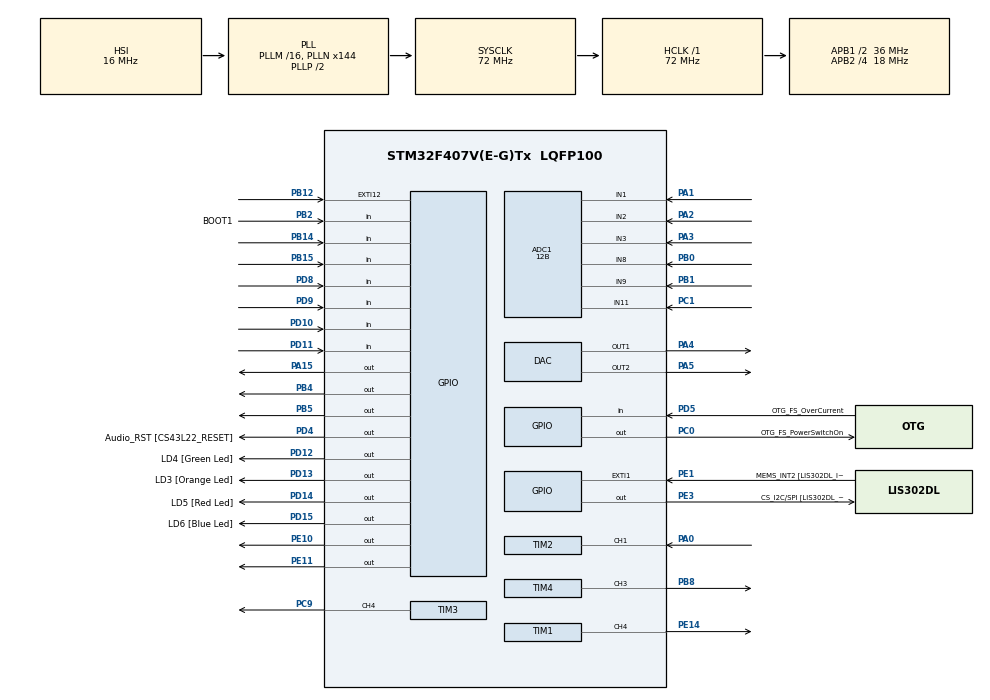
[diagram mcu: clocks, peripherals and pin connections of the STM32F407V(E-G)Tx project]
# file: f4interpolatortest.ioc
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ADC1.Channel-0\#ChannelRegularConversion=ADC_CHANNEL_1
ADC1.Channel-1\#ChannelRegularConversion=ADC_CHANNEL_2
ADC1.Channel-2\#ChannelRegularConversion=ADC_CHANNEL_3
ADC1.Channel-3\#ChannelRegularConversion=ADC_CHANNEL_8
ADC1.Channel-4\#ChannelRegularConversion=ADC_CHANNEL_9
ADC1.Channel-5\#ChannelRegularConversion=ADC_CHANNEL_11
ADC1.ClockPrescaler=ADC_CLOCK_SYNC_PCLK_DIV2
ADC1.ContinuousConvMode=ENABLE
ADC1.DMAContinuousRequests=ENABLE
ADC1.DataAlign=ADC_DATAALIGN_RIGHT
ADC1.DiscontinuousConvMode=DISABLE
ADC1.EOCSelection=ADC_EOC_SINGLE_CONV
ADC1.EnableAnalogWatchDog=false
ADC1.ExternalTrigConv=ADC_SOFTWARE_START
ADC1.ExternalTrigConvEdge=ADC_EXTERNALTRIGCONVEDGE_NONE
ADC1.InjNumberOfConversion=0
ADC1.NbrOfConversion=6
ADC1.NbrOfConversionFlag=1
ADC1.Rank-0\#ChannelRegularConversion=1
ADC1.Rank-1\#ChannelRegularConversion=2
ADC1.Rank-2\#ChannelRegularConversion=3
ADC1.Rank-3\#ChannelRegularConversion=4
ADC1.Rank-4\#ChannelRegularConversion=5
ADC1.Rank-5\#ChannelRegularConversion=6
ADC1.Resolution=ADC_RESOLUTION_12B
ADC1.SamplingTime-0\#ChannelRegularConversion=ADC_SAMPLETIME_56CYCLES
ADC1.SamplingTime-1\#ChannelRegularConversion=ADC_SAMPLETIME_56CYCLES
ADC1.SamplingTime-2\#ChannelRegularConversion=ADC_SAMPLETIME_56CYCLES
ADC1.SamplingTime-3\#ChannelRegularConversion=ADC_SAMPLETIME_56CYCLES
ADC1.SamplingTime-4\#ChannelRegularConversion=ADC_SAMPLETIME_56CYCLES
ADC1.SamplingTime-5\#ChannelRegularConversion=ADC_SAMPLETIME_56CYCLES
ADC1.ScanConvMode=ENABLE
ADC1.master=1
DAC.DAC_Trigger=DAC_TRIGGER_T6_TRGO
DAC.DAC_Trigger2=DAC_TRIGGER_T6_TRGO
Dma.ADC1.2.Direction=DMA_PERIPH_TO_MEMORY
Dma.ADC1.2.FIFOMode=DMA_FIFOMODE_DISABLE
Dma.ADC1.2.Instance=DMA2_Stream0
Dma.ADC1.2.MemDataAlignment=DMA_MDATAALIGN_WORD
Dma.ADC1.2.MemInc=DMA_MINC_ENABLE
Dma.ADC1.2.Mode=DMA_CIRCULAR
Dma.ADC1.2.PeriphDataAlignment=DMA_PDATAALIGN_WORD
Dma.ADC1.2.PeriphInc=DMA_PINC_DISABLE
Dma.ADC1.2.Priority=DMA_PRIORITY_MEDIUM
Dma.DAC1.0.Direction=DMA_MEMORY_TO_PERIPH
Dma.DAC1.0.FIFOMode=DMA_FIFOMODE_DISABLE
Dma.DAC1.0.Instance=DMA1_Stream5
Dma.DAC1.0.MemDataAlignment=DMA_MDATAALIGN_HALFWORD
Dma.DAC1.0.MemInc=DMA_MINC_ENABLE
Dma.DAC1.0.Mode=DMA_NORMAL
Dma.DAC1.0.PeriphDataAlignment=DMA_PDATAALIGN_HALFWORD
Dma.DAC1.0.PeriphInc=DMA_PINC_DISABLE
Dma.DAC1.0.Priority=DMA_PRIORITY_VERY_HIGH
Dma.DAC2.1.Direction=DMA_MEMORY_TO_PERIPH
Dma.DAC2.1.FIFOMode=DMA_FIFOMODE_DISABLE
Dma.DAC2.1.Instance=DMA1_Stream6
Dma.DAC2.1.MemDataAlignment=DMA_MDATAALIGN_HALFWORD
Dma.DAC2.1.MemInc=DMA_MINC_ENABLE
Dma.DAC2.1.Mode=DMA_CIRCULAR
Dma.DAC2.1.PeriphDataAlignment=DMA_PDATAALIGN_HALFWORD
Dma.DAC2.1.PeriphInc=DMA_PINC_DISABLE
Dma.DAC2.1.Priority=DMA_PRIORITY_VERY_HIGH
Dma.Request0=DAC1
Dma.Request1=DAC2
Dma.Request2=ADC1
Mcu.Family=STM32F4
Mcu.Name=STM32F407V(E-G)Tx
Mcu.Package=LQFP100
NVIC.DMA1_Stream5_IRQn=true\:1\:0\:true\:false\:true
NVIC.DMA1_Stream6_IRQn=true\:1\:0\:true\:false\:true
NVIC.DMA2_Stream0_IRQn=true\:1\:0\:true\:false\:true
NVIC.EXTI15_10_IRQn=true\:1\:0\:true\:false\:true
NVIC.PriorityGroup=NVIC_PRIORITYGROUP_2
NVIC.TIM2_IRQn=true\:0\:0\:false\:false\:true
NVIC.TIM6_DAC_IRQn=true\:0\:0\:false\:false\:true
PA0-WKUP.Signal=S_TIM2_CH1_ETR
PA1.Signal=ADCx_IN1
PA10.GPIO_Label=OTG_FS_ID
PA10.GPIO_Mode=GPIO_MODE_AF_PP
PA10.GPIO_PuPd=GPIO_NOPULL
PA10.GPIO_Speed=GPIO_SPEED_FREQ_LOW
PA10.Signal=USB_OTG_FS_ID
PA11.GPIO_Label=OTG_FS_DM
PA11.GPIO_Mode=GPIO_MODE_AF_PP
PA11.GPIO_PuPd=GPIO_NOPULL
PA11.GPIO_Speed=GPIO_SPEED_FREQ_LOW
PA11.Signal=USB_OTG_FS_DM
PA12.GPIO_Label=OTG_FS_DP
PA12.GPIO_Mode=GPIO_MODE_AF_PP
PA12.GPIO_PuPd=GPIO_NOPULL
PA12.GPIO_Speed=GPIO_SPEED_FREQ_LOW
PA12.Signal=USB_OTG_FS_DP
PA13.GPIO_Label=SWDIO
PA13.Signal=SYS_JTMS-SWDIO
PA14.GPIO_Label=SWCLK
PA14.Signal=SYS_JTCK-SWCLK
PA15.Signal=GPIO_Output
PA2.Signal=ADCx_IN2
PA3.Signal=ADCx_IN3
PA4.Signal=COMP_DAC1_group
PA5.Signal=COMP_DAC2_group
PA6.GPIO_Label=SPI1_MISO [LIS302DL_SDO]
PA6.GPIO_Mode=GPIO_MODE_AF_PP
PA6.GPIO_PuPd=GPIO_NOPULL
PA6.GPIO_Speed=GPIO_SPEED_FREQ_LOW
PA6.Signal=SPI1_MISO
PA7.GPIO_Label=SPI1_MOSI [LIS302DL_SDA/SDI/SDO]
PA7.GPIO_Mode=GPIO_MODE_AF_PP
PA7.GPIO_PuPd=GPIO_NOPULL
PA7.GPIO_Speed=GPIO_SPEED_FREQ_LOW
PA7.Signal=SPI1_MOSI
PA9.GPIO_Label=VBUS_FS
PA9.GPIO_Mode=GPIO_MODE_INPUT
PA9.GPIO_PuPd=GPIO_NOPULL
PA9.Signal=USB_OTG_FS_VBUS
PB0.Signal=ADCx_IN8
PB1.Signal=ADCx_IN9
PB10.GPIO_Label=CLK_IN [MP45DT02_CLK]
PB10.GPIO_Mode=GPIO_MODE_AF_PP
PB10.GPIO_PuPd=GPIO_NOPULL
PB10.GPIO_Speed=GPIO_SPEED_FREQ_LOW
PB10.Signal=I2S2_CK
PB12.Signal=GPXTI12
PB14.Signal=GPIO_Input
PB15.Signal=GPIO_Input
PB2.GPIO_Label=BOOT1
PB2.GPIO_Mode=GPIO_MODE_INPUT
PB2.GPIO_PuPd=GPIO_NOPULL
PB2.Signal=GPIO_Input
PB3.GPIO_Label=SWO
PB3.Signal=SYS_JTDO-SWO
PB4.Signal=GPIO_Output
PB5.Signal=GPIO_Output
PB6.GPIO_Label=Audio_SCL [CS43L22_SCL]
PB6.GPIO_Mode=GPIO_MODE_AF_OD
PB6.GPIO_PuPd=GPIO_NOPULL
PB6.GPIO_Speed=GPIO_SPEED_FREQ_LOW
PB6.Signal=I2C1_SCL
PB8.Signal=S_TIM4_CH3
PB9.GPIO_Label=Audio_SDA [CS43L22_SDA]
PB9.GPIO_Mode=GPIO_MODE_AF_OD
PB9.GPIO_PuPd=GPIO_NOPULL
PB9.GPIO_Speed=GPIO_SPEED_FREQ_LOW
PB9.Signal=I2C1_SDA
PC0.GPIO_Label=OTG_FS_PowerSwitchOn
PC0.GPIO_PuPd=GPIO_NOPULL
PC0.GPIO_Speed=GPIO_SPEED_FREQ_LOW
PC0.PinState=GPIO_PIN_SET
PC0.Signal=GPIO_Output
PC1.Signal=ADCx_IN11
PC10.GPIO_Label=I2S3_SCK [CS43L22_SCLK]
PC10.GPIO_Mode=GPIO_MODE_AF_PP
PC10.GPIO_PuPd=GPIO_NOPULL
PC10.GPIO_Speed=GPIO_SPEED_FREQ_LOW
PC10.Signal=I2S3_CK
PC12.GPIO_Label=I2S3_SD [CS43L22_SDIN]
PC12.GPIO_Mode=GPIO_MODE_AF_PP
PC12.GPIO_PuPd=GPIO_NOPULL
PC12.GPIO_Speed=GPIO_SPEED_FREQ_LOW
PC12.Signal=I2S3_SD
PC14-OSC32_IN.GPIO_Label=PC14-OSC32_IN
PC14-OSC32_IN.Signal=RCC_OSC32_IN
PC15-OSC32_OUT.GPIO_Label=PC15-OSC32_OUT
PC15-OSC32_OUT.Signal=RCC_OSC32_OUT
PC3.GPIO_Label=PDM_OUT [MP45DT02_DOUT]
PC3.GPIO_Mode=GPIO_MODE_AF_PP
PC3.GPIO_PuPd=GPIO_NOPULL
PC3.GPIO_Speed=GPIO_SPEED_FREQ_LOW
PC3.Signal=I2S2_SD
PC7.GPIO_Label=I2S3_MCK [CS43L22_MCLK]
PC7.GPIO_Mode=GPIO_MODE_AF_PP
PC7.GPIO_PuPd=GPIO_NOPULL
PC7.GPIO_Speed=GPIO_SPEED_FREQ_LOW
PC7.Signal=I2S3_MCK
PC9.Signal=S_TIM3_CH4
PD10.GPIO_PuPd=GPIO_PULLUP
PD10.Signal=GPIO_Input
PD11.GPIO_PuPd=GPIO_PULLUP
PD11.Signal=GPIO_Input
PD12.GPIO_Label=LD4 [Green Led]
PD12.GPIO_PuPd=GPIO_NOPULL
PD12.GPIO_Speed=GPIO_SPEED_FREQ_LOW
PD12.Signal=GPIO_Output
PD13.GPIO_Label=LD3 [Orange Led]
PD13.GPIO_PuPd=GPIO_NOPULL
PD13.GPIO_Speed=GPIO_SPEED_FREQ_LOW
PD13.Signal=GPIO_Output
PD14.GPIO_Label=LD5 [Red Led]
PD14.GPIO_PuPd=GPIO_NOPULL
PD14.GPIO_Speed=GPIO_SPEED_FREQ_LOW
PD14.Signal=GPIO_Output
PD15.GPIO_Label=LD6 [Blue Led]
PD15.GPIO_PuPd=GPIO_NOPULL
PD15.GPIO_Speed=GPIO_SPEED_FREQ_LOW
PD15.Signal=GPIO_Output
PD4.GPIO_Label=Audio_RST [CS43L22_RESET]
PD4.GPIO_PuPd=GPIO_NOPULL
PD4.GPIO_Speed=GPIO_SPEED_FREQ_LOW
PD4.Signal=GPIO_Output
PD5.GPIO_Label=OTG_FS_OverCurrent
PD5.GPIO_Mode=GPIO_MODE_INPUT
PD5.GPIO_PuPd=GPIO_NOPULL
PD5.Signal=GPIO_Input
PD8.GPIO_PuPd=GPIO_PULLUP
PD8.Signal=GPIO_Input
PD9.GPIO_PuPd=GPIO_PULLUP
PD9.Signal=GPIO_Input
PE1.GPIO_Label=MEMS_INT2 [LIS302DL_INT2]
PE1.GPIO_ModeDefaultEXTI=GPIO_MODE_EVT_RISING
PE1.GPIO_PuPd=GPIO_NOPULL
PE1.Signal=GPXTI1
PE10.Signal=GPIO_Output
PE11.Signal=GPIO_Output
PE14.Signal=S_TIM1_CH4
PE3.GPIO_Label=CS_I2C/SPI [LIS302DL_CS_I2C/SPI]
PE3.GPIO_PuPd=GPIO_NOPULL
PE3.GPIO_Speed=GPIO_SPEED_FREQ_LOW
PE3.Signal=GPIO_Output
PH0-OSC_IN.GPIO_Label=PH0-OSC_IN
PH0-OSC_IN.Signal=RCC_OSC_IN
PH1-OSC_OUT.GPIO_Label=PH1-OSC_OUT
PH1-OSC_OUT.Signal=RCC_OSC_OUT
ProjectManager.HeapSize=0x200
ProjectManager.StackSize=0x400
ProjectManager.TargetToolchain=SW4STM32
RCC.48MHZClocksFreq_Value=48000000
RCC.AHBFreq_Value=72000000
RCC.APB1CLKDivider=RCC_HCLK_DIV2
RCC.APB1Freq_Value=36000000
RCC.APB1TimFreq_Value=72000000
RCC.APB2CLKDivider=RCC_HCLK_DIV4
RCC.APB2Freq_Value=18000000
RCC.APB2TimFreq_Value=36000000
RCC.CortexFreq_Value=72000000
RCC.HCLKFreq_Value=72000000
RCC.HSE_VALUE=8000000
RCC.HSI_VALUE=16000000
RCC.LSE_VALUE=32768
RCC.PLLN=144
RCC.PLLQ=3
RCC.SYSCLKFreq_VALUE=72000000
RCC.SYSCLKSource=RCC_SYSCLKSOURCE_PLLCLK
RCC.VCOOutputFreq_Value=144000000
SH.ADCx_IN1.0=ADC1_IN1,IN1
SH.ADCx_IN11.0=ADC1_IN11,IN11
SH.ADCx_IN2.0=ADC1_IN2,IN2
SH.ADCx_IN3.0=ADC1_IN3,IN3
SH.ADCx_IN8.0=ADC1_IN8,IN8
SH.ADCx_IN9.0=ADC1_IN9,IN9
SH.COMP_DAC1_group.0=DAC_OUT1,DAC_OUT1
SH.COMP_DAC2_group.0=DAC_OUT2,DAC_OUT2
SH.S_TIM1_CH4.0=TIM1_CH4,PWM Generation4 CH4
SH.S_TIM2_CH1_ETR.0=TIM2_CH1,Input_Capture1_from_TI1
SH.S_TIM3_CH4.0=TIM3_CH4,PWM Generation4 CH4
SH.S_TIM4_CH3.0=TIM4_CH3,PWM Generation3 CH3
TIM1.Channel-PWM\ Generation4\ CH4=TIM_CHANNEL_4
TIM1.Period=4096
TIM1.Prescaler=15-1
TIM2.Channel-Input_Capture1_from_TI1=TIM_CHANNEL_1
TIM2.ICPolarity_CH1=TIM_INPUTCHANNELPOLARITY_FALLING
TIM3.Channel-PWM\ Generation4\ CH4=TIM_CHANNEL_4
TIM3.Period=4096
TIM3.Prescaler=4096
TIM4.Channel-PWM\ Generation3\ CH3=TIM_CHANNEL_3
TIM4.Period=4096
TIM4.Prescaler=15-1
TIM6.Period=1000
TIM6.Prescaler=1-1
TIM6.TIM_MasterOutputTrigger=TIM_TRGO_UPDATE
VP_TIM6_VS_ClockSourceINT.Mode=Enable_Timer
board=STM32F4DISCOVERY

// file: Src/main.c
/**
  ******************************************************************************
  * File Name          : main.c
  * Description        : Main program body
  ******************************************************************************
  ** This notice applies to any and all portions of this file
  * that are not between comment pairs USER CODE BEGIN and
  * USER CODE END. Other portions of this file, whether
  * inserted by the user or by software development tools
  * are owned by their respective copyright owners.
  *
  * COPYRIGHT(c) 2017 STMicroelectronics
  *
  * Redistribution and use in source and binary forms, with or without modification,
  * are permitted provided that the following conditions are met:
  *   1. Redistributions of source code must retain the above copyright notice,
  *      this list of conditions and the following disclaimer.
  *   2. Redistributions in binary form must reproduce the above copyright notice,
  *      this list of conditions and the following disclaimer in the documentation
  *      and/or other materials provided with the distribution.
  *   3. Neither the name of STMicroelectronics nor the names of its contributors
  *      may be used to endorse or promote products derived from this software
  *      without specific prior written permission.
  *
  * THIS SOFTWARE IS PROVIDED BY THE COPYRIGHT HOLDERS AND CONTRIBUTORS "AS IS"
  * AND ANY EXPRESS OR IMPLIED WARRANTIES, INCLUDING, BUT NOT LIMITED TO, THE
  * IMPLIED WARRANTIES OF MERCHANTABILITY AND FITNESS FOR A PARTICULAR PURPOSE ARE
  * DISCLAIMED. IN NO EVENT SHALL THE COPYRIGHT HOLDER OR CONTRIBUTORS BE LIABLE
  * FOR ANY DIRECT, INDIRECT, INCIDENTAL, SPECIAL, EXEMPLARY, OR CONSEQUENTIAL
  * DAMAGES (INCLUDING, BUT NOT LIMITED TO, PROCUREMENT OF SUBSTITUTE GOODS OR
  * SERVICES; LOSS OF USE, DATA, OR PROFITS; OR BUSINESS INTERRUPTION) HOWEVER
  * CAUSED AND ON ANY THEORY OF LIABILITY, WHETHER IN CONTRACT, STRICT LIABILITY,
  * OR TORT (INCLUDING NEGLIGENCE OR OTHERWISE) ARISING IN ANY WAY OUT OF THE USE
  * OF THIS SOFTWARE, EVEN IF ADVISED OF THE POSSIBILITY OF SUCH DAMAGE.
  *
  ******************************************************************************
  */
#include "main.h"
#include "stm32f4xx_hal.h"

/* USER CODE BEGIN Includes */
#include "fixmath.h"
#include "fix16.h"
/* USER CODE END Includes */

ADC_HandleTypeDef hadc1;
DMA_HandleTypeDef hdma_adc1;

DAC_HandleTypeDef hdac;
DMA_HandleTypeDef hdma_dac1;
DMA_HandleTypeDef hdma_dac2;

TIM_HandleTypeDef htim1;
TIM_HandleTypeDef htim2;
TIM_HandleTypeDef htim3;
TIM_HandleTypeDef htim4;
TIM_HandleTypeDef htim6;

/* USER CODE BEGIN PV */
/* Private variables ---------------------------------------------------------*/
__IO uint32_t uhTSCAcquisitionValue1;
__IO uint32_t uhTSCAcquisitionValue2;
__IO uint32_t uhTSCAcquisitionValue3;
int not1;
int not2;
int not3;
int modeflag;
int modechanged;
int pindownlastcycle;
int temp1 = 0;
int temp2 = 0;
int temp3 = 0;
int temp4 = 0;
extern uint16_t dacbuffer1[1];
extern uint16_t dacbuffer2[1];
enum speedTypes speed;
enum loopTypes loop;
enum trigModeTypes trigMode;
enum sampleHoldModeTypes sampleHoldMode;
extern uint8_t family;
int trig;
uint8_t lastAttackFlag;
uint8_t lastReleaseFlag;
uint8_t intoattackfroml;
uint8_t intoreleasefroml;
uint8_t intoattackfromr;
uint8_t intoreleasefromr;
uint8_t pintimer;
uint16_t sampleHoldTimer;
int benchmark;
int lastcount;
fix16_t out;
extern uint32_t ADCReadings[6];
/* USER CODE END PV */

void SystemClock_Config(void);
static void MX_GPIO_Init(void);
static void MX_DMA_Init(void);
static void MX_ADC1_Init(void);
static void MX_DAC_Init(void);
static void MX_TIM2_Init(void);
static void MX_TIM6_Init(void);
static void MX_TIM1_Init(void);
static void MX_TIM3_Init(void);
static void MX_TIM4_Init(void);

void HAL_TIM_MspPostInit(TIM_HandleTypeDef *htim);

/* USER CODE BEGIN PFP */
/* Private function prototypes -----------------------------------------------*/
void ReadPins(uint8_t);
void ChangeMode(int);
void ShowMode(uint8_t);
void ClearRGB(void);
void ClearLEDs(void);
/* USER CODE END PFP */

int main(void)
{

  /* MCU Configuration----------------------------------------------------------*/

  /* Reset of all peripherals, Initializes the Flash interface and the Systick. */
  HAL_Init();

  /* Configure the system clock */
  SystemClock_Config();

  /* Initialize all configured peripherals */
  MX_GPIO_Init();
  MX_DMA_Init();
  MX_ADC1_Init();
  MX_DAC_Init();
  MX_TIM2_Init();
  MX_TIM6_Init();
  MX_TIM1_Init();
  MX_TIM3_Init();
  MX_TIM4_Init();

  /* USER CODE BEGIN 2 */
  HAL_ADC_Start_DMA(&hadc1, ADCReadings, 6);
    HAL_TIM_IC_Start_IT(&htim2, TIM_CHANNEL_1);
    HAL_TIM_Base_Start_IT(&htim6);
    HAL_TIM_PWM_Start(&htim1, TIM_CHANNEL_4);
    HAL_TIM_PWM_Start(&htim3, TIM_CHANNEL_4);
    HAL_TIM_PWM_Start(&htim4, TIM_CHANNEL_3);
    HAL_DAC_Start(&hdac, DAC_CHANNEL_1);
    HAL_DAC_Start(&hdac, DAC_CHANNEL_2);
    HAL_DAC_Start_DMA(&hdac, DAC_CHANNEL_1, (uint32_t*)dacbuffer1, 1, DAC_ALIGN_12B_R);
    HAL_DAC_Start_DMA(&hdac, DAC_CHANNEL_2, (uint32_t*)dacbuffer2, 1, DAC_ALIGN_12B_R);

  /* USER CODE END 2 */

  /* Infinite loop */
  /* USER CODE BEGIN WHILE */
  while (1)
  {
	  while (1)
	     {
	 	 pintimer = (pintimer + 1) % 4;
	 	 ReadPins(pintimer);
	 	 if (pindownlastcycle > modechanged) {ChangeMode(modeflag);}
	 	 if (pindownlastcycle > modechanged) {
	 			 if (modeflag == 1) {
	 				 for (int i = 0; i < 10000; i++) {ShowMode(speed);}
	 				 ClearLEDs();
	 			 }
	 			 else if (modeflag == 2) {
	 				 for (int i = 0; i < 10000; i++) {ShowMode(trigMode);}
	 				 ClearLEDs();}
	 			 else if (modeflag == 3) {
	 				 for (int i = 0; i < 10000; i++) {ShowMode(loop);}
	 				 ClearLEDs();}
	 			 else if (modeflag == 4) {
	 				 for (int i = 0; i < 10000; i++) {ShowMode(sampleHoldMode);}
	 				 ClearLEDs();}
	 	}

	 	 if (lastAttackFlag > 0 && modechanged == 0) {
	 		 __HAL_TIM_SET_COMPARE(&htim4, TIM_CHANNEL_3, out);
	 		 __HAL_TIM_SET_COMPARE(&htim3, TIM_CHANNEL_4, 0);} //sets the PWM duty cycle (Capture Compare Value)
	 	 if (lastReleaseFlag > 0 && modechanged == 0) {
	 		 __HAL_TIM_SET_COMPARE(&htim3, TIM_CHANNEL_4, out);
	 		 __HAL_TIM_SET_COMPARE(&htim4, TIM_CHANNEL_3, 0);
	 	 } //sets the PWM duty cycle (Capture Compare Value)
	 	 if (modechanged == 0) {__HAL_TIM_SET_COMPARE(&htim1, TIM_CHANNEL_4, ADCReadings[5]);} //sets the PWM duty cycle (Capture Compare Value)

	 	 //ProcessSensors(); /*Initiates acquisition, sets uhTSCAcquisitionValue1, uhTSCAcquisitionValue2, and
	     	//				uhTSCAcquisitionValue3 if acquisition successful*/
	 	 //SetFlags(); /*Sets flag1, flag2, or flag3 per the unique value combos indicating a touch in the corresponding
	      //	 	 	 zone*/
	      //

	     }
  /* USER CODE END WHILE */

  }

}

/** System Clock Configuration
*/
void SystemClock_Config(void)
{

  RCC_OscInitTypeDef RCC_OscInitStruct;
  RCC_ClkInitTypeDef RCC_ClkInitStruct;

    /**Configure the main internal regulator output voltage
    */
  __HAL_RCC_PWR_CLK_ENABLE();

  __HAL_PWR_VOLTAGESCALING_CONFIG(PWR_REGULATOR_VOLTAGE_SCALE1);

    /**Initializes the CPU, AHB and APB busses clocks
    */
  RCC_OscInitStruct.OscillatorType = RCC_OSCILLATORTYPE_HSI;
  RCC_OscInitStruct.HSIState = RCC_HSI_ON;
  RCC_OscInitStruct.HSICalibrationValue = 16;
  RCC_OscInitStruct.PLL.PLLState = RCC_PLL_ON;
  RCC_OscInitStruct.PLL.PLLSource = RCC_PLLSOURCE_HSI;
  RCC_OscInitStruct.PLL.PLLM = 16;
  RCC_OscInitStruct.PLL.PLLN = 144;
  RCC_OscInitStruct.PLL.PLLP = RCC_PLLP_DIV2;
  RCC_OscInitStruct.PLL.PLLQ = 3;
  if (HAL_RCC_OscConfig(&RCC_OscInitStruct) != HAL_OK)
  {
    _Error_Handler(__FILE__, __LINE__);
  }

    /**Initializes the CPU, AHB and APB busses clocks
    */
  RCC_ClkInitStruct.ClockType = RCC_CLOCKTYPE_HCLK|RCC_CLOCKTYPE_SYSCLK
                              |RCC_CLOCKTYPE_PCLK1|RCC_CLOCKTYPE_PCLK2;
  RCC_ClkInitStruct.SYSCLKSource = RCC_SYSCLKSOURCE_PLLCLK;
  RCC_ClkInitStruct.AHBCLKDivider = RCC_SYSCLK_DIV1;
  RCC_ClkInitStruct.APB1CLKDivider = RCC_HCLK_DIV2;
  RCC_ClkInitStruct.APB2CLKDivider = RCC_HCLK_DIV4;

  if (HAL_RCC_ClockConfig(&RCC_ClkInitStruct, FLASH_LATENCY_2) != HAL_OK)
  {
    _Error_Handler(__FILE__, __LINE__);
  }

    /**Configure the Systick interrupt time
    */
  HAL_SYSTICK_Config(HAL_RCC_GetHCLKFreq()/1000);

    /**Configure the Systick
    */
  HAL_SYSTICK_CLKSourceConfig(SYSTICK_CLKSOURCE_HCLK);

  /* SysTick_IRQn interrupt configuration */
  HAL_NVIC_SetPriority(SysTick_IRQn, 0, 0);
}

/* ADC1 init function */
static void MX_ADC1_Init(void)
{

  ADC_ChannelConfTypeDef sConfig;

    /**Configure the global features of the ADC (Clock, Resolution, Data Alignment and number of conversion)
    */
  hadc1.Instance = ADC1;
  hadc1.Init.ClockPrescaler = ADC_CLOCK_SYNC_PCLK_DIV2;
  hadc1.Init.Resolution = ADC_RESOLUTION_12B;
  hadc1.Init.ScanConvMode = ENABLE;
  hadc1.Init.ContinuousConvMode = ENABLE;
  hadc1.Init.DiscontinuousConvMode = DISABLE;
  hadc1.Init.ExternalTrigConvEdge = ADC_EXTERNALTRIGCONVEDGE_NONE;
  hadc1.Init.ExternalTrigConv = ADC_SOFTWARE_START;
  hadc1.Init.DataAlign = ADC_DATAALIGN_RIGHT;
  hadc1.Init.NbrOfConversion = 6;
  hadc1.Init.DMAContinuousRequests = ENABLE;
  hadc1.Init.EOCSelection = ADC_EOC_SINGLE_CONV;
  if (HAL_ADC_Init(&hadc1) != HAL_OK)
  {
    _Error_Handler(__FILE__, __LINE__);
  }

    /**Configure for the selected ADC regular channel its corresponding rank in the sequencer and its sample time.
    */
  sConfig.Channel = ADC_CHANNEL_1;
  sConfig.Rank = 1;
  sConfig.SamplingTime = ADC_SAMPLETIME_56CYCLES;
  if (HAL_ADC_ConfigChannel(&hadc1, &sConfig) != HAL_OK)
  {
    _Error_Handler(__FILE__, __LINE__);
  }

    /**Configure for the selected ADC regular channel its corresponding rank in the sequencer and its sample time.
    */
  sConfig.Channel = ADC_CHANNEL_2;
  sConfig.Rank = 2;
  if (HAL_ADC_ConfigChannel(&hadc1, &sConfig) != HAL_OK)
  {
    _Error_Handler(__FILE__, __LINE__);
  }

    /**Configure for the selected ADC regular channel its corresponding rank in the sequencer and its sample time.
    */
  sConfig.Channel = ADC_CHANNEL_3;
  sConfig.Rank = 3;
  if (HAL_ADC_ConfigChannel(&hadc1, &sConfig) != HAL_OK)
  {
    _Error_Handler(__FILE__, __LINE__);
  }

    /**Configure for the selected ADC regular channel its corresponding rank in the sequencer and its sample time.
    */
  sConfig.Channel = ADC_CHANNEL_8;
  sConfig.Rank = 4;
  if (HAL_ADC_ConfigChannel(&hadc1, &sConfig) != HAL_OK)
  {
    _Error_Handler(__FILE__, __LINE__);
  }

    /**Configure for the selected ADC regular channel its corresponding rank in the sequencer and its sample time.
    */
  sConfig.Channel = ADC_CHANNEL_9;
  sConfig.Rank = 5;
  if (HAL_ADC_ConfigChannel(&hadc1, &sConfig) != HAL_OK)
  {
    _Error_Handler(__FILE__, __LINE__);
  }

    /**Configure for the selected ADC regular channel its corresponding rank in the sequencer and its sample time.
    */
  sConfig.Channel = ADC_CHANNEL_11;
  sConfig.Rank = 6;
  if (HAL_ADC_ConfigChannel(&hadc1, &sConfig) != HAL_OK)
  {
    _Error_Handler(__FILE__, __LINE__);
  }

}

/* DAC init function */
static void MX_DAC_Init(void)
{

  DAC_ChannelConfTypeDef sConfig;

    /**DAC Initialization
    */
  hdac.Instance = DAC;
  if (HAL_DAC_Init(&hdac) != HAL_OK)
  {
    _Error_Handler(__FILE__, __LINE__);
  }

    /**DAC channel OUT1 config
    */
  sConfig.DAC_Trigger = DAC_TRIGGER_T6_TRGO;
  sConfig.DAC_OutputBuffer = DAC_OUTPUTBUFFER_ENABLE;
  if (HAL_DAC_ConfigChannel(&hdac, &sConfig, DAC_CHANNEL_1) != HAL_OK)
  {
    _Error_Handler(__FILE__, __LINE__);
  }

    /**DAC channel OUT2 config
    */
  if (HAL_DAC_ConfigChannel(&hdac, &sConfig, DAC_CHANNEL_2) != HAL_OK)
  {
    _Error_Handler(__FILE__, __LINE__);
  }

}

/* TIM1 init function */
static void MX_TIM1_Init(void)
{

  TIM_MasterConfigTypeDef sMasterConfig;
  TIM_OC_InitTypeDef sConfigOC;
  TIM_BreakDeadTimeConfigTypeDef sBreakDeadTimeConfig;

  htim1.Instance = TIM1;
  htim1.Init.Prescaler = 15-1;
  htim1.Init.CounterMode = TIM_COUNTERMODE_UP;
  htim1.Init.Period = 4096;
  htim1.Init.ClockDivision = TIM_CLOCKDIVISION_DIV1;
  htim1.Init.RepetitionCounter = 0;
  if (HAL_TIM_PWM_Init(&htim1) != HAL_OK)
  {
    _Error_Handler(__FILE__, __LINE__);
  }

  sMasterConfig.MasterOutputTrigger = TIM_TRGO_RESET;
  sMasterConfig.MasterSlaveMode = TIM_MASTERSLAVEMODE_DISABLE;
  if (HAL_TIMEx_MasterConfigSynchronization(&htim1, &sMasterConfig) != HAL_OK)
  {
    _Error_Handler(__FILE__, __LINE__);
  }

  sConfigOC.OCMode = TIM_OCMODE_PWM1;
  sConfigOC.Pulse = 0;
  sConfigOC.OCPolarity = TIM_OCPOLARITY_HIGH;
  sConfigOC.OCFastMode = TIM_OCFAST_DISABLE;
  sConfigOC.OCIdleState = TIM_OCIDLESTATE_RESET;
  sConfigOC.OCNIdleState = TIM_OCNIDLESTATE_RESET;
  if (HAL_TIM_PWM_ConfigChannel(&htim1, &sConfigOC, TIM_CHANNEL_4) != HAL_OK)
  {
    _Error_Handler(__FILE__, __LINE__);
  }

  sBreakDeadTimeConfig.OffStateRunMode = TIM_OSSR_DISABLE;
  sBreakDeadTimeConfig.OffStateIDLEMode = TIM_OSSI_DISABLE;
  sBreakDeadTimeConfig.LockLevel = TIM_LOCKLEVEL_OFF;
  sBreakDeadTimeConfig.DeadTime = 0;
  sBreakDeadTimeConfig.BreakState = TIM_BREAK_DISABLE;
  sBreakDeadTimeConfig.BreakPolarity = TIM_BREAKPOLARITY_HIGH;
  sBreakDeadTimeConfig.AutomaticOutput = TIM_AUTOMATICOUTPUT_DISABLE;
  if (HAL_TIMEx_ConfigBreakDeadTime(&htim1, &sBreakDeadTimeConfig) != HAL_OK)
  {
    _Error_Handler(__FILE__, __LINE__);
  }

  HAL_TIM_MspPostInit(&htim1);

}

/* TIM2 init function */
static void MX_TIM2_Init(void)
{

  TIM_MasterConfigTypeDef sMasterConfig;
  TIM_IC_InitTypeDef sConfigIC;

  htim2.Instance = TIM2;
  htim2.Init.Prescaler = 0;
  htim2.Init.CounterMode = TIM_COUNTERMODE_UP;
  htim2.Init.Period = 0;
  htim2.Init.ClockDivision = TIM_CLOCKDIVISION_DIV1;
  if (HAL_TIM_IC_Init(&htim2) != HAL_OK)
  {
    _Error_Handler(__FILE__, __LINE__);
  }

  sMasterConfig.MasterOutputTrigger = TIM_TRGO_RESET;
  sMasterConfig.MasterSlaveMode = TIM_MASTERSLAVEMODE_DISABLE;
  if (HAL_TIMEx_MasterConfigSynchronization(&htim2, &sMasterConfig) != HAL_OK)
  {
    _Error_Handler(__FILE__, __LINE__);
  }

  sConfigIC.ICPolarity = TIM_INPUTCHANNELPOLARITY_FALLING;
  sConfigIC.ICSelection = TIM_ICSELECTION_DIRECTTI;
  sConfigIC.ICPrescaler = TIM_ICPSC_DIV1;
  sConfigIC.ICFilter = 0;
  if (HAL_TIM_IC_ConfigChannel(&htim2, &sConfigIC, TIM_CHANNEL_1) != HAL_OK)
  {
    _Error_Handler(__FILE__, __LINE__);
  }

}

/* TIM3 init function */
static void MX_TIM3_Init(void)
{

  TIM_MasterConfigTypeDef sMasterConfig;
  TIM_OC_InitTypeDef sConfigOC;

  htim3.Instance = TIM3;
  htim3.Init.Prescaler = 15-1;
  htim3.Init.CounterMode = TIM_COUNTERMODE_UP;
  htim3.Init.Period = 4096;
  htim3.Init.ClockDivision = TIM_CLOCKDIVISION_DIV1;
  if (HAL_TIM_PWM_Init(&htim3) != HAL_OK)
  {
    _Error_Handler(__FILE__, __LINE__);
  }

  sMasterConfig.MasterOutputTrigger = TIM_TRGO_RESET;
  sMasterConfig.MasterSlaveMode = TIM_MASTERSLAVEMODE_DISABLE;
  if (HAL_TIMEx_MasterConfigSynchronization(&htim3, &sMasterConfig) != HAL_OK)
  {
    _Error_Handler(__FILE__, __LINE__);
  }

  sConfigOC.OCMode = TIM_OCMODE_PWM1;
  sConfigOC.Pulse = 0;
  sConfigOC.OCPolarity = TIM_OCPOLARITY_HIGH;
  sConfigOC.OCFastMode = TIM_OCFAST_DISABLE;
  if (HAL_TIM_PWM_ConfigChannel(&htim3, &sConfigOC, TIM_CHANNEL_4) != HAL_OK)
  {
    _Error_Handler(__FILE__, __LINE__);
  }

  HAL_TIM_MspPostInit(&htim3);

}

/* TIM4 init function */
static void MX_TIM4_Init(void)
{

  TIM_MasterConfigTypeDef sMasterConfig;
  TIM_OC_InitTypeDef sConfigOC;

  htim4.Instance = TIM4;
  htim4.Init.Prescaler = 15-1;
  htim4.Init.CounterMode = TIM_COUNTERMODE_UP;
  htim4.Init.Period = 4096;
  htim4.Init.ClockDivision = TIM_CLOCKDIVISION_DIV1;
  if (HAL_TIM_PWM_Init(&htim4) != HAL_OK)
  {
    _Error_Handler(__FILE__, __LINE__);
  }

  sMasterConfig.MasterOutputTrigger = TIM_TRGO_RESET;
  sMasterConfig.MasterSlaveMode = TIM_MASTERSLAVEMODE_DISABLE;
  if (HAL_TIMEx_MasterConfigSynchronization(&htim4, &sMasterConfig) != HAL_OK)
  {
    _Error_Handler(__FILE__, __LINE__);
  }

  sConfigOC.OCMode = TIM_OCMODE_PWM1;
  sConfigOC.Pulse = 0;
  sConfigOC.OCPolarity = TIM_OCPOLARITY_HIGH;
  sConfigOC.OCFastMode = TIM_OCFAST_DISABLE;
  if (HAL_TIM_PWM_ConfigChannel(&htim4, &sConfigOC, TIM_CHANNEL_3) != HAL_OK)
  {
    _Error_Handler(__FILE__, __LINE__);
  }

  HAL_TIM_MspPostInit(&htim4);

}

/* TIM6 init function */
static void MX_TIM6_Init(void)
{

  TIM_MasterConfigTypeDef sMasterConfig;

  htim6.Instance = TIM6;
  htim6.Init.Prescaler = 1-1;
  htim6.Init.CounterMode = TIM_COUNTERMODE_UP;
  htim6.Init.Period = 1000;
  if (HAL_TIM_Base_Init(&htim6) != HAL_OK)
  {
    _Error_Handler(__FILE__, __LINE__);
  }

  sMasterConfig.MasterOutputTrigger = TIM_TRGO_UPDATE;
  sMasterConfig.MasterSlaveMode = TIM_MASTERSLAVEMODE_DISABLE;
  if (HAL_TIMEx_MasterConfigSynchronization(&htim6, &sMasterConfig) != HAL_OK)
  {
    _Error_Handler(__FILE__, __LINE__);
  }

}

static void MX_DMA_Init(void)
{
  /* DMA controller clock enable */
  __HAL_RCC_DMA1_CLK_ENABLE();
  __HAL_RCC_DMA2_CLK_ENABLE();

  /* DMA interrupt init */
  /* DMA1_Stream5_IRQn interrupt configuration */
  HAL_NVIC_SetPriority(DMA1_Stream5_IRQn, 1, 0);
  HAL_NVIC_EnableIRQ(DMA1_Stream5_IRQn);
  /* DMA1_Stream6_IRQn interrupt configuration */
  HAL_NVIC_SetPriority(DMA1_Stream6_IRQn, 1, 0);
  HAL_NVIC_EnableIRQ(DMA1_Stream6_IRQn);
  /* DMA2_Stream0_IRQn interrupt configuration */
  HAL_NVIC_SetPriority(DMA2_Stream0_IRQn, 1, 0);
  HAL_NVIC_EnableIRQ(DMA2_Stream0_IRQn);

}

/** Configure pins as
        * Analog
        * Input
        * Output
        * EVENT_OUT
        * EXTI
     PC3   ------> I2S2_SD
     PA6   ------> SPI1_MISO
     PA7   ------> SPI1_MOSI
     PB10   ------> I2S2_CK
     PC7   ------> I2S3_MCK
     PA9   ------> USB_OTG_FS_VBUS
     PA10   ------> USB_OTG_FS_ID
     PA11   ------> USB_OTG_FS_DM
     PA12   ------> USB_OTG_FS_DP
     PC10   ------> I2S3_CK
     PC12   ------> I2S3_SD
     PB6   ------> I2C1_SCL
     PB9   ------> I2C1_SDA
*/
static void MX_GPIO_Init(void)
{

  GPIO_InitTypeDef GPIO_InitStruct;

  /* GPIO Ports Clock Enable */
  __HAL_RCC_GPIOE_CLK_ENABLE();
  __HAL_RCC_GPIOC_CLK_ENABLE();
  __HAL_RCC_GPIOH_CLK_ENABLE();
  __HAL_RCC_GPIOA_CLK_ENABLE();
  __HAL_RCC_GPIOB_CLK_ENABLE();
  __HAL_RCC_GPIOD_CLK_ENABLE();

  /*Configure GPIO pin Output Level */
  HAL_GPIO_WritePin(GPIOE, CS_I2C_SPI_Pin|GPIO_PIN_10|GPIO_PIN_11, GPIO_PIN_RESET);

  /*Configure GPIO pin Output Level */
  HAL_GPIO_WritePin(OTG_FS_PowerSwitchOn_GPIO_Port, OTG_FS_PowerSwitchOn_Pin, GPIO_PIN_SET);

  /*Configure GPIO pin Output Level */
  HAL_GPIO_WritePin(GPIOD, LD4_Pin|LD3_Pin|LD5_Pin|LD6_Pin
                          |Audio_RST_Pin, GPIO_PIN_RESET);

  /*Configure GPIO pin Output Level */
  HAL_GPIO_WritePin(GPIOA, GPIO_PIN_15, GPIO_PIN_RESET);

  /*Configure GPIO pin Output Level */
  HAL_GPIO_WritePin(GPIOB, GPIO_PIN_4|GPIO_PIN_5, GPIO_PIN_RESET);

  /*Configure GPIO pins : CS_I2C_SPI_Pin PE10 PE11 */
  GPIO_InitStruct.Pin = CS_I2C_SPI_Pin|GPIO_PIN_10|GPIO_PIN_11;
  GPIO_InitStruct.Mode = GPIO_MODE_OUTPUT_PP;
  GPIO_InitStruct.Pull = GPIO_NOPULL;
  GPIO_InitStruct.Speed = GPIO_SPEED_FREQ_LOW;
  HAL_GPIO_Init(GPIOE, &GPIO_InitStruct);

  /*Configure GPIO pin : OTG_FS_PowerSwitchOn_Pin */
  GPIO_InitStruct.Pin = OTG_FS_PowerSwitchOn_Pin;
  GPIO_InitStruct.Mode = GPIO_MODE_OUTPUT_PP;
  GPIO_InitStruct.Pull = GPIO_NOPULL;
  GPIO_InitStruct.Speed = GPIO_SPEED_FREQ_LOW;
  HAL_GPIO_Init(OTG_FS_PowerSwitchOn_GPIO_Port, &GPIO_InitStruct);

  /*Configure GPIO pin : PDM_OUT_Pin */
  GPIO_InitStruct.Pin = PDM_OUT_Pin;
  GPIO_InitStruct.Mode = GPIO_MODE_AF_PP;
  GPIO_InitStruct.Pull = GPIO_NOPULL;
  GPIO_InitStruct.Speed = GPIO_SPEED_FREQ_LOW;
  GPIO_InitStruct.Alternate = GPIO_AF5_SPI2;
  HAL_GPIO_Init(PDM_OUT_GPIO_Port, &GPIO_InitStruct);

  /*Configure GPIO pins : SPI1_MISO_Pin SPI1_MOSI_Pin */
  GPIO_InitStruct.Pin = SPI1_MISO_Pin|SPI1_MOSI_Pin;
  GPIO_InitStruct.Mode = GPIO_MODE_AF_PP;
  GPIO_InitStruct.Pull = GPIO_NOPULL;
  GPIO_InitStruct.Speed = GPIO_SPEED_FREQ_LOW;
  GPIO_InitStruct.Alternate = GPIO_AF5_SPI1;
  HAL_GPIO_Init(GPIOA, &GPIO_InitStruct);

  /*Configure GPIO pins : BOOT1_Pin PB14 PB15 */
  GPIO_InitStruct.Pin = BOOT1_Pin|GPIO_PIN_14|GPIO_PIN_15;
  GPIO_InitStruct.Mode = GPIO_MODE_INPUT;
  GPIO_InitStruct.Pull = GPIO_NOPULL;
  HAL_GPIO_Init(GPIOB, &GPIO_InitStruct);

  /*Configure GPIO pin : CLK_IN_Pin */
  GPIO_InitStruct.Pin = CLK_IN_Pin;
  GPIO_InitStruct.Mode = GPIO_MODE_AF_PP;
  GPIO_InitStruct.Pull = GPIO_NOPULL;
  GPIO_InitStruct.Speed = GPIO_SPEED_FREQ_LOW;
  GPIO_InitStruct.Alternate = GPIO_AF5_SPI2;
  HAL_GPIO_Init(CLK_IN_GPIO_Port, &GPIO_InitStruct);

  /*Configure GPIO pin : PB12 */
  GPIO_InitStruct.Pin = GPIO_PIN_12;
  GPIO_InitStruct.Mode = GPIO_MODE_IT_RISING;
  GPIO_InitStruct.Pull = GPIO_NOPULL;
  HAL_GPIO_Init(GPIOB, &GPIO_InitStruct);

  /*Configure GPIO pins : PD8 PD9 PD10 PD11 */
  GPIO_InitStruct.Pin = GPIO_PIN_8|GPIO_PIN_9|GPIO_PIN_10|GPIO_PIN_11;
  GPIO_InitStruct.Mode = GPIO_MODE_INPUT;
  GPIO_InitStruct.Pull = GPIO_PULLUP;
  HAL_GPIO_Init(GPIOD, &GPIO_InitStruct);

  /*Configure GPIO pins : LD4_Pin LD3_Pin LD5_Pin LD6_Pin
                           Audio_RST_Pin */
  GPIO_InitStruct.Pin = LD4_Pin|LD3_Pin|LD5_Pin|LD6_Pin
                          |Audio_RST_Pin;
  GPIO_InitStruct.Mode = GPIO_MODE_OUTPUT_PP;
  GPIO_InitStruct.Pull = GPIO_NOPULL;
  GPIO_InitStruct.Speed = GPIO_SPEED_FREQ_LOW;
  HAL_GPIO_Init(GPIOD, &GPIO_InitStruct);

  /*Configure GPIO pins : I2S3_MCK_Pin I2S3_SCK_Pin I2S3_SD_Pin */
  GPIO_InitStruct.Pin = I2S3_MCK_Pin|I2S3_SCK_Pin|I2S3_SD_Pin;
  GPIO_InitStruct.Mode = GPIO_MODE_AF_PP;
  GPIO_InitStruct.Pull = GPIO_NOPULL;
  GPIO_InitStruct.Speed = GPIO_SPEED_FREQ_LOW;
  GPIO_InitStruct.Alternate = GPIO_AF6_SPI3;
  HAL_GPIO_Init(GPIOC, &GPIO_InitStruct);

  /*Configure GPIO pin : VBUS_FS_Pin */
  GPIO_InitStruct.Pin = VBUS_FS_Pin;
  GPIO_InitStruct.Mode = GPIO_MODE_INPUT;
  GPIO_InitStruct.Pull = GPIO_NOPULL;
  HAL_GPIO_Init(VBUS_FS_GPIO_Port, &GPIO_InitStruct);

  /*Configure GPIO pins : OTG_FS_ID_Pin OTG_FS_DM_Pin OTG_FS_DP_Pin */
  GPIO_InitStruct.Pin = OTG_FS_ID_Pin|OTG_FS_DM_Pin|OTG_FS_DP_Pin;
  GPIO_InitStruct.Mode = GPIO_MODE_AF_PP;
  GPIO_InitStruct.Pull = GPIO_NOPULL;
  GPIO_InitStruct.Speed = GPIO_SPEED_FREQ_LOW;
  GPIO_InitStruct.Alternate = GPIO_AF10_OTG_FS;
  HAL_GPIO_Init(GPIOA, &GPIO_InitStruct);

  /*Configure GPIO pin : PA15 */
  GPIO_InitStruct.Pin = GPIO_PIN_15;
  GPIO_InitStruct.Mode = GPIO_MODE_OUTPUT_PP;
  GPIO_InitStruct.Pull = GPIO_NOPULL;
  GPIO_InitStruct.Speed = GPIO_SPEED_FREQ_LOW;
  HAL_GPIO_Init(GPIOA, &GPIO_InitStruct);

  /*Configure GPIO pin : OTG_FS_OverCurrent_Pin */
  GPIO_InitStruct.Pin = OTG_FS_OverCurrent_Pin;
  GPIO_InitStruct.Mode = GPIO_MODE_INPUT;
  GPIO_InitStruct.Pull = GPIO_NOPULL;
  HAL_GPIO_Init(OTG_FS_OverCurrent_GPIO_Port, &GPIO_InitStruct);

  /*Configure GPIO pins : PB4 PB5 */
  GPIO_InitStruct.Pin = GPIO_PIN_4|GPIO_PIN_5;
  GPIO_InitStruct.Mode = GPIO_MODE_OUTPUT_PP;
  GPIO_InitStruct.Pull = GPIO_NOPULL;
  GPIO_InitStruct.Speed = GPIO_SPEED_FREQ_LOW;
  HAL_GPIO_Init(GPIOB, &GPIO_InitStruct);

  /*Configure GPIO pins : Audio_SCL_Pin Audio_SDA_Pin */
  GPIO_InitStruct.Pin = Audio_SCL_Pin|Audio_SDA_Pin;
  GPIO_InitStruct.Mode = GPIO_MODE_AF_OD;
  GPIO_InitStruct.Pull = GPIO_PULLUP;
  GPIO_InitStruct.Speed = GPIO_SPEED_FREQ_LOW;
  GPIO_InitStruct.Alternate = GPIO_AF4_I2C1;
  HAL_GPIO_Init(GPIOB, &GPIO_InitStruct);

  /*Configure GPIO pin : MEMS_INT2_Pin */
  GPIO_InitStruct.Pin = MEMS_INT2_Pin;
  GPIO_InitStruct.Mode = GPIO_MODE_EVT_RISING;
  GPIO_InitStruct.Pull = GPIO_NOPULL;
  HAL_GPIO_Init(MEMS_INT2_GPIO_Port, &GPIO_InitStruct);

  /* EXTI interrupt init*/
  HAL_NVIC_SetPriority(EXTI15_10_IRQn, 1, 0);
  HAL_NVIC_EnableIRQ(EXTI15_10_IRQn);

}

/* USER CODE BEGIN 4 */

void ReadPins(uint8_t pin){
	pindownlastcycle = modechanged;
	if (pin == 0) {
	    if (HAL_GPIO_ReadPin(GPIOD, GPIO_PIN_8) == GPIO_PIN_RESET) {
	    	modeflag = 1;
	    	modechanged = 1;
	    	ClearRGB();
	    	ShowMode(speed);
	    }
	    else {
	    	if (modeflag == 1) {modechanged = 0;}
	    }
	}
	if (pin == 1) {
	    if (HAL_GPIO_ReadPin(GPIOD, GPIO_PIN_9) == GPIO_PIN_RESET) {
	    	modeflag = 2;
	    	modechanged = 1;
	    	ClearRGB();
	    	ShowMode(trigMode);
	    }
	    else {
	    	if (modeflag == 2) {modechanged = 0;}
	    }
	}
	if (pin == 2) {
	    if (HAL_GPIO_ReadPin(GPIOD, GPIO_PIN_10) == GPIO_PIN_RESET) {
	    	modeflag = 3;
	    	modechanged = 1;
	    	ClearRGB();
	    	ShowMode(loop);
	    }
	    else {
	    	if (modeflag == 3) {modechanged = 0;}
	    }
	}
	if (pin == 3) {
	    if (HAL_GPIO_ReadPin(GPIOD, GPIO_PIN_11) == GPIO_PIN_RESET) {
	    	modeflag = 4;
	    	modechanged = 1;
	    	ClearRGB();
	    	ShowMode(sampleHoldMode);
	    }
	    else {
	    	if (modeflag == 4) {modechanged = 0;}
	    }
	}
}

void ChangeMode(int mode) {
		if (mode == 1) {
			speed = (speed + 1) % 2;
		}
		if (mode == 2) {
			trigMode = (trigMode + 1) % 5;
		}
		if (mode == 3) {
			loop = (loop + 1) % 2;
		}
		if (mode == 4) {
			sampleHoldMode = (sampleHoldMode + 1) % 6;
		}
}

void ShowMode(uint8_t currentmode) {
	if (currentmode == 1) {
		HAL_GPIO_WritePin(GPIOD, GPIO_PIN_12, GPIO_PIN_SET);
	}
	if (currentmode == 2) {
		HAL_GPIO_WritePin(GPIOD, GPIO_PIN_12, GPIO_PIN_SET);
		HAL_GPIO_WritePin(GPIOD, GPIO_PIN_13, GPIO_PIN_SET);
	}
	if (currentmode == 3) {
		HAL_GPIO_WritePin(GPIOD, GPIO_PIN_12, GPIO_PIN_SET);
		HAL_GPIO_WritePin(GPIOD, GPIO_PIN_13, GPIO_PIN_SET);
		HAL_GPIO_WritePin(GPIOD, GPIO_PIN_14, GPIO_PIN_SET);

	}
	if (currentmode == 4) {
		HAL_GPIO_WritePin(GPIOD, GPIO_PIN_13, GPIO_PIN_SET);
		HAL_GPIO_WritePin(GPIOD, GPIO_PIN_14, GPIO_PIN_SET);

	}
	if (currentmode == 5) {
		HAL_GPIO_WritePin(GPIOD, GPIO_PIN_14, GPIO_PIN_SET);

	}
	/*
	if (lastAttackFlag > 0) {
			 __HAL_TIM_SET_COMPARE(&htim3, TIM_CHANNEL_2, out);
			 __HAL_TIM_SET_COMPARE(&htim17, TIM_CHANNEL_1, 0);} //sets the PWM duty cycle (Capture Compare Value)
	if (lastReleaseFlag > 0) {
			 __HAL_TIM_SET_COMPARE(&htim17, TIM_CHANNEL_1, out);
			 __HAL_TIM_SET_COMPARE(&htim3, TIM_CHANNEL_2, 0);
		 } //sets the PWM duty cycle (Capture Compare Value)
		 __HAL_TIM_SET_COMPARE(&htim16, TIM_CHANNEL_1, ADCReadings[5]); //sets*/
}

void ClearRGB(void) {
	//HAL_GPIO_WritePin(GPIOC, GPIO_PIN_6, GPIO_PIN_RESET);
	//HAL_GPIO_WritePin(GPIOC, GPIO_PIN_8, GPIO_PIN_RESET);
	//HAL_GPIO_WritePin(GPIOC, GPIO_PIN_9, GPIO_PIN_RESET);
	 __HAL_TIM_SET_COMPARE(&htim1, TIM_CHANNEL_4, 0);
	 __HAL_TIM_SET_COMPARE(&htim3, TIM_CHANNEL_4, 0);
	 __HAL_TIM_SET_COMPARE(&htim4, TIM_CHANNEL_3, 0);
}
void ClearLEDs(void) {
	HAL_GPIO_WritePin(GPIOD, GPIO_PIN_12, GPIO_PIN_RESET);
	HAL_GPIO_WritePin(GPIOD, GPIO_PIN_13, GPIO_PIN_RESET);
	HAL_GPIO_WritePin(GPIOD, GPIO_PIN_14, GPIO_PIN_RESET);
}

/* USER CODE END 4 */

void _Error_Handler(char * file, int line)
{
  while(1)
  {
  }
}

/************************ (C) COPYRIGHT STMicroelectronics *****END OF FILE****/
